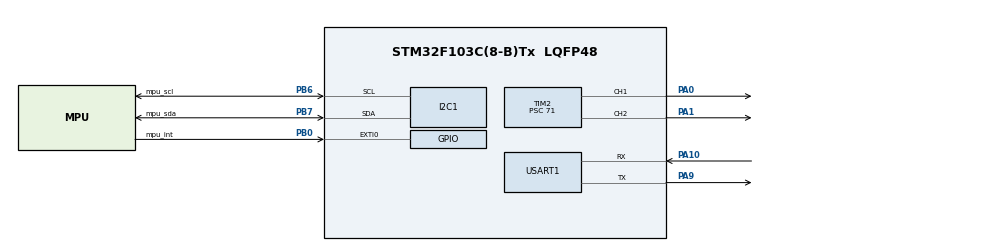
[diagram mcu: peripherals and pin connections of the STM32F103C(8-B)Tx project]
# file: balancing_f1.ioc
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Dma.I2C1_RX.0.Direction=DMA_PERIPH_TO_MEMORY
Dma.I2C1_RX.0.Instance=DMA1_Channel7
Dma.I2C1_RX.0.MemDataAlignment=DMA_MDATAALIGN_BYTE
Dma.I2C1_RX.0.MemInc=DMA_MINC_ENABLE
Dma.I2C1_RX.0.Mode=DMA_NORMAL
Dma.I2C1_RX.0.PeriphDataAlignment=DMA_PDATAALIGN_BYTE
Dma.I2C1_RX.0.PeriphInc=DMA_PINC_DISABLE
Dma.I2C1_RX.0.Priority=DMA_PRIORITY_LOW
Dma.Request0=I2C1_RX
I2C1.I2C_Mode=I2C_Fast
Mcu.Family=STM32F1
Mcu.Name=STM32F103C(8-B)Tx
Mcu.Package=LQFP48
NVIC.DMA1_Channel7_IRQn=true\:0\:0\:false\:false\:true\:false
NVIC.EXTI0_IRQn=true\:0\:0\:false\:false\:true\:true
NVIC.PriorityGroup=NVIC_PRIORITYGROUP_4
PA0-WKUP.Signal=S_TIM2_CH1_ETR
PA1.Signal=S_TIM2_CH2
PA10.Mode=Asynchronous
PA10.Signal=USART1_RX
PA13.Mode=Serial_Wire
PA13.Signal=SYS_JTMS-SWDIO
PA14.Mode=Serial_Wire
PA14.Signal=SYS_JTCK-SWCLK
PA9.Mode=Asynchronous
PA9.Signal=USART1_TX
PB0.GPIO_Label=mpu_int
PB0.GPIO_ModeDefaultEXTI=GPIO_MODE_IT_FALLING
PB0.GPIO_PuPd=GPIO_PULLDOWN
PB0.Signal=GPXTI0
PB6.GPIO_Label=mpu_scl
PB6.Mode=I2C
PB6.Signal=I2C1_SCL
PB7.GPIO_Label=mpu_sda
PB7.Mode=I2C
PB7.Signal=I2C1_SDA
PC14-OSC32_IN.Mode=LSE-External-Oscillator
PC14-OSC32_IN.Signal=RCC_OSC32_IN
PC15-OSC32_OUT.Mode=LSE-External-Oscillator
PC15-OSC32_OUT.Signal=RCC_OSC32_OUT
PD0-OSC_IN.Mode=HSE-External-Oscillator
PD0-OSC_IN.Signal=RCC_OSC_IN
PD1-OSC_OUT.Mode=HSE-External-Oscillator
PD1-OSC_OUT.Signal=RCC_OSC_OUT
ProjectManager.HeapSize=0x200
ProjectManager.StackSize=0x400
ProjectManager.TargetToolchain=SW4STM32
RCC.AHBFreq_Value=72000000
RCC.APB1CLKDivider=RCC_HCLK_DIV2
RCC.APB1Freq_Value=36000000
RCC.APB1TimFreq_Value=72000000
RCC.APB2Freq_Value=72000000
RCC.APB2TimFreq_Value=72000000
RCC.HCLKFreq_Value=72000000
RCC.PLLMUL=RCC_PLL_MUL9
RCC.PLLSourceVirtual=RCC_PLLSOURCE_HSE
RCC.SYSCLKFreq_VALUE=72000000
RCC.SYSCLKSource=RCC_SYSCLKSOURCE_PLLCLK
RCC.USBFreq_Value=72000000
SH.S_TIM2_CH1_ETR.0=TIM2_CH1,PWM Generation1 CH1
SH.S_TIM2_CH2.0=TIM2_CH2,PWM Generation2 CH2
TIM1.Period=65535
TIM1.Prescaler=71
TIM2.Channel-PWM\ Generation1\ CH1=TIM_CHANNEL_1
TIM2.Channel-PWM\ Generation2\ CH2=TIM_CHANNEL_2
TIM2.Prescaler=71
USART1.VirtualMode=VM_ASYNC
VP_TIM1_VS_ClockSourceINT.Mode=Internal
board=custom

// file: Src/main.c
/* USER CODE BEGIN Header */
/**
 ******************************************************************************
 * @file           : main.c
 * @brief          : Main program body
 ******************************************************************************
 ** This notice applies to any and all portions of this file
 * that are not between comment pairs USER CODE BEGIN and
 * USER CODE END. Other portions of this file, whether
 * inserted by the user or by software development tools
 * are owned by their respective copyright owners.
 *
 * COPYRIGHT(c) 2019 STMicroelectronics
 *
 * Redistribution and use in source and binary forms, with or without modification,
 * are permitted provided that the following conditions are met:
 *   1. Redistributions of source code must retain the above copyright notice,
 *      this list of conditions and the following disclaimer.
 *   2. Redistributions in binary form must reproduce the above copyright notice,
 *      this list of conditions and the following disclaimer in the documentation
 *      and/or other materials provided with the distribution.
 *   3. Neither the name of STMicroelectronics nor the names of its contributors
 *      may be used to endorse or promote products derived from this software
 *      without specific prior written permission.
 *
 * THIS SOFTWARE IS PROVIDED BY THE COPYRIGHT HOLDERS AND CONTRIBUTORS "AS IS"
 * AND ANY EXPRESS OR IMPLIED WARRANTIES, INCLUDING, BUT NOT LIMITED TO, THE
 * IMPLIED WARRANTIES OF MERCHANTABILITY AND FITNESS FOR A PARTICULAR PURPOSE ARE
 * DISCLAIMED. IN NO EVENT SHALL THE COPYRIGHT HOLDER OR CONTRIBUTORS BE LIABLE
 * FOR ANY DIRECT, INDIRECT, INCIDENTAL, SPECIAL, EXEMPLARY, OR CONSEQUENTIAL
 * DAMAGES (INCLUDING, BUT NOT LIMITED TO, PROCUREMENT OF SUBSTITUTE GOODS OR
 * SERVICES; LOSS OF USE, DATA, OR PROFITS; OR BUSINESS INTERRUPTION) HOWEVER
 * CAUSED AND ON ANY THEORY OF LIABILITY, WHETHER IN CONTRACT, STRICT LIABILITY,
 * OR TORT (INCLUDING NEGLIGENCE OR OTHERWISE) ARISING IN ANY WAY OUT OF THE USE
 * OF THIS SOFTWARE, EVEN IF ADVISED OF THE POSSIBILITY OF SUCH DAMAGE.
 *
 ******************************************************************************
 */
/* USER CODE END Header */

#include "main.h"

/* USER CODE BEGIN Includes */
#include <string.h>
#include "vector3.h"
#include "quaternion.h"
#include "mpu6050.h"

/* USER CODE END Includes */

/* USER CODE BEGIN PD */
#define LOG(str) 			uart_print_str(str)
#define LOG_INT(num) 		uart_print_int(num)
#define LOG_FLOAT(num)		uart_print_float(num)
/* USER CODE END PD */

UART_HandleTypeDef huart1;

void SystemClock_Config(void);
static void MX_GPIO_Init(void);
static void MX_DMA_Init(void);
static void MX_I2C1_Init(void);
static void MX_USART1_UART_Init(void);
static void MX_TIM1_Init(void);
static void MX_TIM2_Init(void);
/* USER CODE BEGIN PFP */

int8_t imu_new_data = 0;

/* USER CODE END PFP */

/* USER CODE BEGIN 0 */

void uart_print_str(char* str) {
	size_t len = strlen(str);
	HAL_UART_Transmit(&huart1, (uint8_t*) str, len, 1000);
}

void uart_print_int(int32_t number) {
	uint8_t str[64];
	uint32_t len = sprintf((char*) str, "%d", (int) number);
	HAL_UART_Transmit(&huart1, str, len, 1000);
}
void uart_print_float(float num) {
	uint8_t str[64];
	uint32_t len = sprintf((char*) str, "%f", num);
	HAL_UART_Transmit(&huart1, str, len, 1000);
}
void shutdown() {
	LOG("Terminal error.\n");

	for (;;)
		;
}

void orientation_update(Quaternion* rot_body, mpu6050_outputs imu, float dt)
{
	const static Vector3 up_vector = {{0, 0, 1.0f}};
	const static float a = 0.99f; // complementary filter

	// transfer orientation form body space to world space
	Quaternion rot = quat_inverse(rot_body);

	Vector3 v_acc = vec3_create(imu.accel.x, imu.accel.y, imu.accel.z);
	Vector3 v_gyro = vec3_create(imu.gyro.x, imu.gyro.y, imu.gyro.z);

	float v_gyro_length = vec3_length(v_gyro);
	v_gyro = vec3_normalize(v_gyro);

	Quaternion q_rot_dt = quat_create_from_axis_angle(v_gyro, dt*v_gyro_length);

	// integrate gyro angular velocity
	rot = quat_multiply_quaternion(&rot, &q_rot_dt);

	// calculate acceleration vector
	// transfer acceleration vector into world space
	Vector3 v_acc_w = quat_rotate_point(rot, v_acc);
	v_acc_w = vec3_normalize(v_acc_w);

	Vector3 v_acc_normal = vec3_cross_product(v_acc_w, up_vector);
	v_acc_normal = vec3_normalize(v_acc_normal);
	float angle = vec3_rad_to_deg(acosf(v_acc_w.data[2]));

	Quaternion q_tilt_correction = quat_create_from_axis_angle(v_acc_normal, (1.0f-a)*angle);
	quat_normalize(&q_tilt_correction);
	rot = quat_multiply_quaternion(&q_tilt_correction, &rot);

	// transfer orientation form world space to body space
	*rot_body = quat_inverse(&rot);
}

/* USER CODE END 0 */

int main(void)
{

  /* MCU Configuration--------------------------------------------------------*/

  /* Reset of all peripherals, Initializes the Flash interface and the Systick. */
  HAL_Init();

  /* Configure the system clock */
  SystemClock_Config();

  /* Initialize all configured peripherals */
  MX_GPIO_Init();
  MX_DMA_Init();
  MX_I2C1_Init();
  MX_USART1_UART_Init();
  MX_TIM1_Init();
  MX_TIM2_Init();
  /* USER CODE BEGIN 2 */

	LOG("Program start.\n");

	Quaternion orientation = quat_create_identity();
	Vector3 orientation_euler;
	mpu6050_t mpu;
	MPU6050_Status mpu_status;
	MPU6050_Configuraton config;

	mpu6050_outputs imu; // ACCL - TMP - GYRO

	config.accelerometer = MPU6050_Accelerometer_2g;
	config.device = MPU6050_Device_0;
	config.gyroscope = MPU6050_Gyroscope_2000s;
	config.sample_rate = MPU6050_SampleRate_500Hz;
	config.dlpf = MPU6050_DLPF_6;

	int mpu_init_count = 0;
	int mpu_init_count_max = 10;
	int mpu_init_delay = 200;

	LL_TIM_EnableCounter(TIM1);

	do {
		mpu6050_init(&mpu, I2C1, config);
		mpu6050_set_interrupt(&mpu, MPU6050_InterruptFlag_DATA_RDY_EN);
		mpu6050_start(&mpu);

		LOG("IMU initialization: ");
		if ((mpu_status = mpu6050_get_status(&mpu)) != MPU6050_Status_Ok) {

			LOG("failed. Try: ");
			LOG_INT(mpu_init_count);
			LOG(".\n");
			LL_mDelay(mpu_init_delay);
		} else {
			LOG("success.\n");
		}
	} while (mpu_init_count++ < mpu_init_count_max
			&& mpu_status != MPU6050_Status_Ok);
	if (mpu_status != MPU6050_Status_Ok) {
		LOG("IMU initialization failed\n");
		shutdown();
	}

	float time_elapsed = 0;
	float work_time = 0;
	float cpu_usage = 0;
	uint32_t error_counter = 0;
  /* USER CODE END 2 */

  /* Infinite loop */
  /* USER CODE BEGIN WHILE */
	while (1) {

		if (imu_new_data) {
			time_elapsed = LL_TIM_GetCounter(TIM1);
			cpu_usage = 100.0f* work_time/time_elapsed;
			LL_TIM_SetCounter(TIM1, 0);
			imu_new_data = 0;
			//LL_mDelay(1);
			if (mpu6050_read_all(&mpu, &imu) != MPU6050_Status_Ok) {
				LOG("IMU read data failed.\n");
				mpu6050_reset_state(&mpu);
				LL_mDelay(1);
				error_counter++;
			} else {

				orientation_update(&orientation, imu, time_elapsed/1000000.0f);
				orientation_euler = quat_to_euler(&orientation);

				uint8_t str[64];
				uint32_t str_len;
				//str_len = sprintf(str, "$%f %f %f;",  imu.gyro.x, imu.gyro.y, imu.gyro.z);
				str_len = sprintf(str, "$%f %f %f %f %f %f %d; ",
						orientation_euler.data[0],
						orientation_euler.data[1],
						orientation_euler.data[2],
						work_time/1000.0f,
						time_elapsed/1000.0f,
						cpu_usage,
						error_counter);
				HAL_UART_Transmit(&huart1, str, str_len, 1000);
			}

			work_time = LL_TIM_GetCounter(TIM1);
		} else {

		}
    /* USER CODE END WHILE */

	}
}

void SystemClock_Config(void)
{
  LL_FLASH_SetLatency(LL_FLASH_LATENCY_2);

   if(LL_FLASH_GetLatency() != LL_FLASH_LATENCY_2)
  {
    Error_Handler();
  }
  LL_RCC_HSE_Enable();

   /* Wait till HSE is ready */
  while(LL_RCC_HSE_IsReady() != 1)
  {

  }
  LL_RCC_PLL_ConfigDomain_SYS(LL_RCC_PLLSOURCE_HSE_DIV_1, LL_RCC_PLL_MUL_9);
  LL_RCC_PLL_Enable();

   /* Wait till PLL is ready */
  while(LL_RCC_PLL_IsReady() != 1)
  {

  }
  LL_RCC_SetAHBPrescaler(LL_RCC_SYSCLK_DIV_1);
  LL_RCC_SetAPB1Prescaler(LL_RCC_APB1_DIV_2);
  LL_RCC_SetAPB2Prescaler(LL_RCC_APB2_DIV_1);
  LL_RCC_SetSysClkSource(LL_RCC_SYS_CLKSOURCE_PLL);

   /* Wait till System clock is ready */
  while(LL_RCC_GetSysClkSource() != LL_RCC_SYS_CLKSOURCE_STATUS_PLL)
  {

  }
  LL_Init1msTick(72000000);
  LL_SYSTICK_SetClkSource(LL_SYSTICK_CLKSOURCE_HCLK);
  LL_SetSystemCoreClock(72000000);
}

static void MX_I2C1_Init(void)
{

  LL_I2C_InitTypeDef I2C_InitStruct = {0};

  LL_GPIO_InitTypeDef GPIO_InitStruct = {0};

  LL_APB2_GRP1_EnableClock(LL_APB2_GRP1_PERIPH_GPIOB);
  /**I2C1 GPIO Configuration
  PB6   ------> I2C1_SCL
  PB7   ------> I2C1_SDA
  */
  GPIO_InitStruct.Pin = mpu_scl_Pin|mpu_sda_Pin;
  GPIO_InitStruct.Mode = LL_GPIO_MODE_ALTERNATE;
  GPIO_InitStruct.Speed = LL_GPIO_SPEED_FREQ_HIGH;
  GPIO_InitStruct.OutputType = LL_GPIO_OUTPUT_OPENDRAIN;
  LL_GPIO_Init(GPIOB, &GPIO_InitStruct);

  /* Peripheral clock enable */
  LL_APB1_GRP1_EnableClock(LL_APB1_GRP1_PERIPH_I2C1);

  /* I2C1 DMA Init */

  /* I2C1_RX Init */
  LL_DMA_SetDataTransferDirection(DMA1, LL_DMA_CHANNEL_7, LL_DMA_DIRECTION_PERIPH_TO_MEMORY);

  LL_DMA_SetChannelPriorityLevel(DMA1, LL_DMA_CHANNEL_7, LL_DMA_PRIORITY_LOW);

  LL_DMA_SetMode(DMA1, LL_DMA_CHANNEL_7, LL_DMA_MODE_NORMAL);

  LL_DMA_SetPeriphIncMode(DMA1, LL_DMA_CHANNEL_7, LL_DMA_PERIPH_NOINCREMENT);

  LL_DMA_SetMemoryIncMode(DMA1, LL_DMA_CHANNEL_7, LL_DMA_MEMORY_INCREMENT);

  LL_DMA_SetPeriphSize(DMA1, LL_DMA_CHANNEL_7, LL_DMA_PDATAALIGN_BYTE);

  LL_DMA_SetMemorySize(DMA1, LL_DMA_CHANNEL_7, LL_DMA_MDATAALIGN_BYTE);

  /**I2C Initialization
  */
  LL_I2C_DisableOwnAddress2(I2C1);
  LL_I2C_DisableGeneralCall(I2C1);
  LL_I2C_EnableClockStretching(I2C1);
  I2C_InitStruct.PeripheralMode = LL_I2C_MODE_I2C;
  I2C_InitStruct.ClockSpeed = 400000;
  I2C_InitStruct.DutyCycle = LL_I2C_DUTYCYCLE_2;
  I2C_InitStruct.OwnAddress1 = 0;
  I2C_InitStruct.TypeAcknowledge = LL_I2C_ACK;
  I2C_InitStruct.OwnAddrSize = LL_I2C_OWNADDRESS1_7BIT;
  LL_I2C_Init(I2C1, &I2C_InitStruct);
  LL_I2C_SetOwnAddress2(I2C1, 0);

}

static void MX_TIM1_Init(void)
{

  LL_TIM_InitTypeDef TIM_InitStruct = {0};

  /* Peripheral clock enable */
  LL_APB2_GRP1_EnableClock(LL_APB2_GRP1_PERIPH_TIM1);

  TIM_InitStruct.Prescaler = 71;
  TIM_InitStruct.CounterMode = LL_TIM_COUNTERMODE_UP;
  TIM_InitStruct.Autoreload = 65535;
  TIM_InitStruct.ClockDivision = LL_TIM_CLOCKDIVISION_DIV1;
  TIM_InitStruct.RepetitionCounter = 0;
  LL_TIM_Init(TIM1, &TIM_InitStruct);
  LL_TIM_DisableARRPreload(TIM1);
  LL_TIM_SetClockSource(TIM1, LL_TIM_CLOCKSOURCE_INTERNAL);
  LL_TIM_SetTriggerOutput(TIM1, LL_TIM_TRGO_RESET);
  LL_TIM_DisableMasterSlaveMode(TIM1);

}

static void MX_TIM2_Init(void)
{

  LL_TIM_InitTypeDef TIM_InitStruct = {0};
  LL_TIM_OC_InitTypeDef TIM_OC_InitStruct = {0};

  LL_GPIO_InitTypeDef GPIO_InitStruct = {0};

  /* Peripheral clock enable */
  LL_APB1_GRP1_EnableClock(LL_APB1_GRP1_PERIPH_TIM2);

  TIM_InitStruct.Prescaler = 71;
  TIM_InitStruct.CounterMode = LL_TIM_COUNTERMODE_UP;
  TIM_InitStruct.Autoreload = 0;
  TIM_InitStruct.ClockDivision = LL_TIM_CLOCKDIVISION_DIV1;
  LL_TIM_Init(TIM2, &TIM_InitStruct);
  LL_TIM_DisableARRPreload(TIM2);
  LL_TIM_OC_EnablePreload(TIM2, LL_TIM_CHANNEL_CH1);
  TIM_OC_InitStruct.OCMode = LL_TIM_OCMODE_PWM1;
  TIM_OC_InitStruct.OCState = LL_TIM_OCSTATE_DISABLE;
  TIM_OC_InitStruct.OCNState = LL_TIM_OCSTATE_DISABLE;
  TIM_OC_InitStruct.CompareValue = 0;
  TIM_OC_InitStruct.OCPolarity = LL_TIM_OCPOLARITY_HIGH;
  LL_TIM_OC_Init(TIM2, LL_TIM_CHANNEL_CH1, &TIM_OC_InitStruct);
  LL_TIM_OC_DisableFast(TIM2, LL_TIM_CHANNEL_CH1);
  LL_TIM_OC_EnablePreload(TIM2, LL_TIM_CHANNEL_CH2);
  TIM_OC_InitStruct.OCState = LL_TIM_OCSTATE_DISABLE;
  TIM_OC_InitStruct.OCNState = LL_TIM_OCSTATE_DISABLE;
  LL_TIM_OC_Init(TIM2, LL_TIM_CHANNEL_CH2, &TIM_OC_InitStruct);
  LL_TIM_OC_DisableFast(TIM2, LL_TIM_CHANNEL_CH2);
  LL_TIM_SetTriggerOutput(TIM2, LL_TIM_TRGO_RESET);
  LL_TIM_DisableMasterSlaveMode(TIM2);
  LL_APB2_GRP1_EnableClock(LL_APB2_GRP1_PERIPH_GPIOA);
  /**TIM2 GPIO Configuration
  PA0-WKUP   ------> TIM2_CH1
  PA1   ------> TIM2_CH2
  */
  GPIO_InitStruct.Pin = LL_GPIO_PIN_0|LL_GPIO_PIN_1;
  GPIO_InitStruct.Mode = LL_GPIO_MODE_ALTERNATE;
  GPIO_InitStruct.Speed = LL_GPIO_SPEED_FREQ_LOW;
  GPIO_InitStruct.OutputType = LL_GPIO_OUTPUT_PUSHPULL;
  LL_GPIO_Init(GPIOA, &GPIO_InitStruct);

}

static void MX_USART1_UART_Init(void)
{

  huart1.Instance = USART1;
  huart1.Init.BaudRate = 115200;
  huart1.Init.WordLength = UART_WORDLENGTH_8B;
  huart1.Init.StopBits = UART_STOPBITS_1;
  huart1.Init.Parity = UART_PARITY_NONE;
  huart1.Init.Mode = UART_MODE_TX_RX;
  huart1.Init.HwFlowCtl = UART_HWCONTROL_NONE;
  huart1.Init.OverSampling = UART_OVERSAMPLING_16;
  if (HAL_UART_Init(&huart1) != HAL_OK)
  {
    Error_Handler();
  }

}

static void MX_DMA_Init(void)
{
  /* Init with LL driver */
  /* DMA controller clock enable */
  LL_AHB1_GRP1_EnableClock(LL_AHB1_GRP1_PERIPH_DMA1);

  /* DMA interrupt init */
  /* DMA1_Channel7_IRQn interrupt configuration */
  NVIC_SetPriority(DMA1_Channel7_IRQn, NVIC_EncodePriority(NVIC_GetPriorityGrouping(),0, 0));
  NVIC_EnableIRQ(DMA1_Channel7_IRQn);

}

static void MX_GPIO_Init(void)
{
  LL_EXTI_InitTypeDef EXTI_InitStruct = {0};

  /* GPIO Ports Clock Enable */
  LL_APB2_GRP1_EnableClock(LL_APB2_GRP1_PERIPH_GPIOC);
  LL_APB2_GRP1_EnableClock(LL_APB2_GRP1_PERIPH_GPIOD);
  LL_APB2_GRP1_EnableClock(LL_APB2_GRP1_PERIPH_GPIOA);
  LL_APB2_GRP1_EnableClock(LL_APB2_GRP1_PERIPH_GPIOB);

  /**/
  LL_GPIO_AF_SetEXTISource(LL_GPIO_AF_EXTI_PORTB, LL_GPIO_AF_EXTI_LINE0);

  /**/
  EXTI_InitStruct.Line_0_31 = LL_EXTI_LINE_0;
  EXTI_InitStruct.LineCommand = ENABLE;
  EXTI_InitStruct.Mode = LL_EXTI_MODE_IT;
  EXTI_InitStruct.Trigger = LL_EXTI_TRIGGER_FALLING;
  LL_EXTI_Init(&EXTI_InitStruct);

  /**/
  LL_GPIO_SetPinPull(mpu_int_GPIO_Port, mpu_int_Pin, LL_GPIO_PULL_DOWN);

  /**/
  LL_GPIO_SetPinMode(mpu_int_GPIO_Port, mpu_int_Pin, LL_GPIO_MODE_INPUT);

  /* EXTI interrupt init*/
  NVIC_SetPriority(EXTI0_IRQn, NVIC_EncodePriority(NVIC_GetPriorityGrouping(),0, 0));
  NVIC_EnableIRQ(EXTI0_IRQn);

}

void Error_Handler(void)
{
}

/************************ (C) COPYRIGHT STMicroelectronics *****END OF FILE****/
